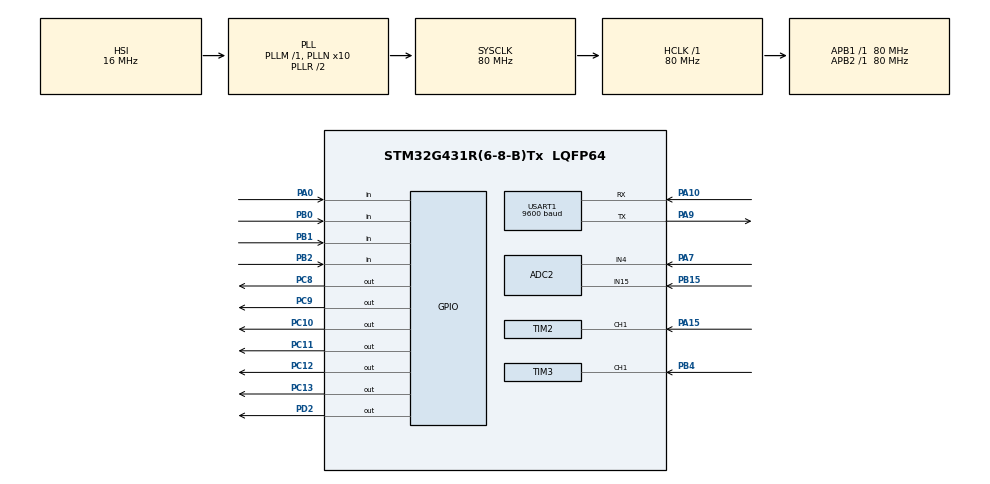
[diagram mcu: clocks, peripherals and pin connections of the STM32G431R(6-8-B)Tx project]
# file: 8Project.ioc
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ADC2.Channel-3\#ChannelRegularConversion=ADC_CHANNEL_15
ADC2.Channel-4\#ChannelRegularConversion=ADC_CHANNEL_4
ADC2.NbrOfConversion=2
ADC2.NbrOfConversionFlag=1
ADC2.OffsetNumber-3\#ChannelRegularConversion=ADC_OFFSET_NONE
ADC2.OffsetNumber-4\#ChannelRegularConversion=ADC_OFFSET_NONE
ADC2.Rank-3\#ChannelRegularConversion=1
ADC2.Rank-4\#ChannelRegularConversion=2
ADC2.SamplingTime-3\#ChannelRegularConversion=ADC_SAMPLETIME_640CYCLES_5
ADC2.SamplingTime-4\#ChannelRegularConversion=ADC_SAMPLETIME_640CYCLES_5
Mcu.Family=STM32G4
Mcu.Name=STM32G431R(6-8-B)Tx
Mcu.Package=LQFP64
NVIC.PriorityGroup=NVIC_PRIORITYGROUP_4
NVIC.TIM1_TRG_COM_TIM17_IRQn=true\:0\:0\:false\:false\:true\:true\:true
NVIC.TIM2_IRQn=true\:0\:0\:false\:false\:true\:true\:true
NVIC.TIM3_IRQn=true\:0\:0\:false\:false\:true\:true\:true
NVIC.USART1_IRQn=true\:1\:0\:true\:false\:true\:true\:true
PA0.Signal=GPIO_Input
PA10.Mode=Asynchronous
PA10.Signal=USART1_RX
PA13.Mode=Serial_Wire
PA13.Signal=SYS_JTMS-SWDIO
PA14.Mode=Serial_Wire
PA14.Signal=SYS_JTCK-SWCLK
PA15.Signal=S_TIM2_CH1
PA7.Mode=IN4-Single-Ended
PA7.Signal=ADC2_IN4
PA9.Mode=Asynchronous
PA9.Signal=USART1_TX
PB0.Signal=GPIO_Input
PB1.Signal=GPIO_Input
PB15.Mode=IN15-Single-Ended
PB15.Signal=ADC2_IN15
PB2.Signal=GPIO_Input
PB4.Signal=S_TIM3_CH1
PC10.Signal=GPIO_Output
PC11.Signal=GPIO_Output
PC12.Signal=GPIO_Output
PC13.Signal=GPIO_Output
PC14-OSC32_IN.Mode=LSE-External-Oscillator
PC14-OSC32_IN.Signal=RCC_OSC32_IN
PC15-OSC32_OUT.Mode=LSE-External-Oscillator
PC15-OSC32_OUT.Signal=RCC_OSC32_OUT
PC8.Signal=GPIO_Output
PC9.Signal=GPIO_Output
PD2.Signal=GPIO_Output
PF0-OSC_IN.Mode=HSE-External-Oscillator
PF0-OSC_IN.Signal=RCC_OSC_IN
PF1-OSC_OUT.Mode=HSE-External-Oscillator
PF1-OSC_OUT.Signal=RCC_OSC_OUT
ProjectManager.HeapSize=0x200
ProjectManager.StackSize=0x400
ProjectManager.TargetToolchain=MDK-ARM V5
RCC.ADC12Freq_Value=80000000
RCC.AHBFreq_Value=80000000
RCC.APB1Freq_Value=80000000
RCC.APB1TimFreq_Value=80000000
RCC.APB2Freq_Value=80000000
RCC.APB2TimFreq_Value=80000000
RCC.CortexFreq_Value=80000000
RCC.EXTERNAL_CLOCK_VALUE=12288000
RCC.HCLKFreq_Value=80000000
RCC.HSE_VALUE=24000000
RCC.HSI48_VALUE=48000000
RCC.HSI_VALUE=16000000
RCC.PLLN=10
RCC.SYSCLKFreq_VALUE=80000000
RCC.SYSCLKSource=RCC_SYSCLKSOURCE_PLLCLK
RCC.USBFreq_Value=80000000
RCC.VCOOutputFreq_Value=160000000
SH.S_TIM2_CH1.0=TIM2_CH1,Input_Capture1_from_TI1
SH.S_TIM3_CH1.0=TIM3_CH1,Input_Capture1_from_TI1
TIM17.AutoReloadPreload=TIM_AUTORELOAD_PRELOAD_ENABLE
TIM17.PeriodNoDither=500
TIM17.Prescaler=79
TIM2.Channel-Input_Capture1_from_TI1=TIM_CHANNEL_1
TIM2.Prescaler=80-1
TIM3.AutoReloadPreload=TIM_AUTORELOAD_PRELOAD_ENABLE
TIM3.Channel-Input_Capture1_from_TI1=TIM_CHANNEL_1
TIM3.PeriodNoDither=10000-1
TIM3.Prescaler=80-1
USART1.BaudRate=9600
USART1.VirtualMode-Asynchronous=VM_ASYNC
VP_SYS_VS_DBSignals.Mode=DisableDeadBatterySignals
VP_TIM17_VS_ClockSourceINT.Mode=Enable_Timer
VP_TIM2_VS_ClockSourceINT.Mode=Internal
VP_TIM3_VS_ClockSourceINT.Mode=Internal
board=custom

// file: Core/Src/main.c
/* USER CODE BEGIN Header */
/**
  ******************************************************************************
  * @file           : main.c
  * @brief          : Main program body
  ******************************************************************************
  * @attention
  *
  * <h2><center>&copy; Copyright (c) 2023 STMicroelectronics.
  * All rights reserved.</center></h2>
  *
  * This software component is licensed by ST under BSD 3-Clause license,
  * the "License"; You may not use this file except in compliance with the
  * License. You may obtain a copy of the License at:
  *                        opensource.org/licenses/BSD-3-Clause
  *
  ******************************************************************************
  */
/* USER CODE END Header */
#include "main.h"
#include "adc.h"
#include "tim.h"
#include "usart.h"
#include "gpio.h"

/* USER CODE BEGIN Includes */
#include "lcd.h"
#include "i2c_hal.h"
#include "stdio.h"
#include "string.h"

/* USER CODE END Includes */

/* USER CODE BEGIN PD */
#define KEY1 HAL_GPIO_ReadPin(GPIOB,GPIO_PIN_0)
#define KEY2 HAL_GPIO_ReadPin(GPIOB,GPIO_PIN_1)
#define KEY3 HAL_GPIO_ReadPin(GPIOB,GPIO_PIN_2)
#define KEY4 HAL_GPIO_ReadPin(GPIOA,GPIO_PIN_0)

/* USER CODE END PD */

/* USER CODE BEGIN PV */
//key
u8 key_val,key_down,key_up,key_old;

//lcd
u8 sta_lcd;
u8 ptr[30];

unsigned char tx[21],rx,rx_buf[21];//串口相关变量
u8 dex;
u8 tc[128];
u8 tcs = 0;

//led
u8 led_in;
u8 e2prom[5];//EEPROM存储数组
/* USER CODE END PV */

void SystemClock_Config(void);

/* USER CODE BEGIN 0 */

void i2c_Read(unsigned char *PucBuff,unsigned char ucAddr,unsigned char ucNum)
{
	I2CStart();
	I2CSendByte(0xa0);
	I2CWaitAck();
	I2CSendByte(ucAddr);
	I2CWaitAck();
	I2CStart();
	I2CSendByte(0xa1);
	I2CWaitAck();
	while(ucNum--)
	{
		*PucBuff++ = I2CReceiveByte();
		if(ucNum)
			I2CSendAck();
		else
			I2CSendNotAck();
	}
	I2CStop();
}

void i2c_Write(unsigned char *PucBuff,unsigned char ucAddr,unsigned char ucNum)
{
	I2CStart();
	I2CSendByte(0xa0);
	I2CWaitAck();
	I2CSendByte(ucAddr);
	I2CWaitAck();
	while(ucNum--)
	{
		I2CSendByte(*PucBuff++);
		I2CWaitAck();
	}
	I2CStop();
	HAL_Delay(5);
}

u8 key_scan()
{
	if((KEY1 == 0)||(KEY2 == 0)||(KEY3 == 0)||(KEY4 == 0))
	{
		HAL_Delay(10);
		if(KEY1 == 0) return 1;
		else if(KEY2 == 0) return 2;
		else if(KEY3 == 0) return 3;
		else if(KEY4 == 0) return 4;
	}return 0;
}

void led_dis(u8 led)
{
	HAL_GPIO_WritePin(GPIOC,0xff00,GPIO_PIN_SET);
	HAL_GPIO_WritePin(GPIOD,GPIO_PIN_2,GPIO_PIN_SET);
	HAL_GPIO_WritePin(GPIOD,GPIO_PIN_2,GPIO_PIN_RESET);

	HAL_GPIO_WritePin(GPIOC,led<<8,GPIO_PIN_RESET);
	HAL_GPIO_WritePin(GPIOD,GPIO_PIN_2,GPIO_PIN_SET);
	HAL_GPIO_WritePin(GPIOD,GPIO_PIN_2,GPIO_PIN_RESET);
}

void key_Proc()
{
	static __IO uint32_t Key_Tick,DKey_Tick;

	if(uwTick - Key_Tick < 50)
		return;

	Key_Tick = uwTick;

	key_val = key_scan();
	key_down = key_val&(key_val^key_old);
	key_up = ~key_val&(key_val^key_old);
	key_old = key_val;

	if(key_down != 0)
		DKey_Tick=uwTick;

	if(uwTick - DKey_Tick > 1000)
	{
		switch(key_up)
		{
			case 1:
				led_in = 0x00;
				break;
			case 4:
				led_in |= 0x80;
			break;
		}
	}else
	{
		switch (key_up)
		{
			case 1:
			{
				tcs ++;
				led_in = 0x00;
				break;
			}
			case 2:
			{

				break;
			}
			case 3:
			{

				break;
			}
			case 4:
			{
				led_in |= 0x08;
				break;
			}
		}
	}
}

void lcd_Proc()
{
	if(!sta_lcd)
	{
		sprintf((char*)ptr,"    local Plat   ");
		LCD_DisplayStringLine(Line1,(u8*)ptr);

		sprintf((char*)ptr,"  %d  %d   ", tcs, tc[tcs] );
		LCD_DisplayStringLine(Line2,(u8*)ptr);
	}else{
		sprintf((char*)ptr,"");
		LCD_DisplayStringLine(Line0,(u8*)ptr);
	}
}

void led_Proc()
{

	led_dis(led_in);
}

unsigned char isRxCplt()
{
	if(dex==0)
		return 0;
	else if((dex==1)&&(rx_buf[0]=='X'))
		return 1;
	else if((dex==1)&&(rx_buf[0]=='Y'))
		return 2;
	else if((dex==3)&&(rx_buf[0]=='P')&&(rx_buf[1]=='A')&&(rx_buf[2]=='1'))//接收到3位数据 且该数据为PA1
		return 3;
	else if((dex==3)&&(rx_buf[0]=='P')&&(rx_buf[1]=='A')&&(rx_buf[2]=='4'))//接收到3位数据 且该数据为PA4
		return 4;
	else if((dex==3)&&(rx_buf[0]=='P')&&(rx_buf[1]=='A')&&(rx_buf[2]=='5'))//接收到3位数据 且该数据为PA5
		return 5;
	else if((dex==1)&&(rx_buf[0]=='#'))
		return 6;
	else//接收到其他数据
		return 7;
}

void Uart_Proc()
{
	static __IO uint32_t Uart_Tick;

	if(uwTick-Uart_Tick<50)
		return;
	Uart_Tick=uwTick;

	if(isRxCplt()==1)//返回当前频率参数
	{
		sprintf((char*)tx,"X:%d\r\n",dex);
		HAL_UART_Transmit(&huart1,tx,strlen(tx),50);
	}
	else if(isRxCplt()==2)//返回当前电压参数
	{
		sprintf((char*)tx,"Y:%d\r\n",dex);
		HAL_UART_Transmit(&huart1,tx,strlen(tx),50);
	}
	else if(isRxCplt()==3)//返回PA1通道实时测量到的频率数据
	{
		sprintf((char*)tx,"PA1:%d\r\n",dex);
		HAL_UART_Transmit(&huart1,tx,strlen(tx),50);
	}
	else if(isRxCplt()==4)//返回PA4通道当前测量到的电压数据
	{
		sprintf((char*)tx,"PA4:%d\r\n",dex);
		HAL_UART_Transmit(&huart1,tx,strlen(tx),50);
	}
	else if(isRxCplt()==5)//返回PA5通道当前测量到的电压数据
	{
		sprintf((char*)tx,"PA5:%d\r\n",dex);
		HAL_UART_Transmit(&huart1,tx,strlen(tx),50);
	}

	dex=0;//串口缓冲数组索引清零
}

void HAL_UART_RxCpltCallback(UART_HandleTypeDef *huart)
{

	rx_buf[dex++]=rx;
	HAL_UART_Receive_IT(&huart1,&rx,1);//重新开启接收中断
}

u16 adc[2];

void getADC2(void) // 获取PB15引脚的电压(对应R37电阻)
{
	u8 i;

//	HAL_ADC_Start(&hadc2);
//	for(i = 0; i < 2; i ++)
//	{
//		adc[i] = HAL_ADC_GetValue(&hadc2);
//		HAL_Delay(5);
//	}
	HAL_ADC_Start(&hadc2);
	HAL_ADC_PollForConversion (&hadc2,50);//等待转换完成，第二个参数表示超时时间，单位ms
	adc[0] = HAL_ADC_GetValue(&hadc2);
	HAL_ADC_Start(&hadc2);
	HAL_ADC_PollForConversion (&hadc2,50);
	adc[1] = HAL_ADC_GetValue(&hadc2);
	HAL_ADC_Stop(&hadc2);

}

uint32_t  f39 = 0, f40 = 0; //分别用来存储TIM2_CH1和TIM3_CH1的捕获频率
void HAL_TIM_IC_CaptureCallback(TIM_HandleTypeDef *htim)
{
	uint32_t  cc1_value = 0;
	cc1_value = __HAL_TIM_GET_COUNTER(htim);
	__HAL_TIM_SetCounter(htim,0);

	if(htim == &htim2) //定时器2，对应的是PA15引脚，R40
	{
		f40 = 1000000/cc1_value;
	}

}
/* USER CODE END 0 */

int main(void)
{

  /* MCU Configuration--------------------------------------------------------*/

  /* Reset of all peripherals, Initializes the Flash interface and the Systick. */
  HAL_Init();

  /* Configure the system clock */
  SystemClock_Config();

  /* Initialize all configured peripherals */
  MX_GPIO_Init();
  MX_TIM3_Init();
  MX_TIM17_Init();
  MX_USART1_UART_Init();
  MX_TIM2_Init();
  MX_ADC2_Init();
  /* USER CODE BEGIN 2 */
	I2CInit();
	LCD_Init();
	LCD_SetBackColor(Black);
	LCD_SetTextColor(White);
	LCD_Clear(Black);
	led_dis(0);
	HAL_UART_Receive_IT(&huart1,&rx,1);
	HAL_TIM_IC_Start_IT(&htim2, TIM_CHANNEL_1);

	i2c_Read(e2prom,0,5);
  if((e2prom[2]==0x77)&&(e2prom[3]==0x7A)&&(e2prom[4]==0x64))//不是第一次上电
  {

  }
  else//是第一次上电
  {
		e2prom[2]=0x77;e2prom[3]=0x7A;e2prom[4]=0x64;//写入表示已经完成第一次上电的标志
		i2c_Write(e2prom,0,5);
  }

  /* USER CODE END 2 */

  /* Infinite loop */
  while (1)
  {

    /* USER CODE BEGIN 3 */
		sprintf((char*)tx,"X:%d\r\n",adc[0]);
		LCD_DisplayStringLine(Line8,(u8*)tx);
		sprintf((char*)tx,"X:%d\r\n",adc[1]);
		LCD_DisplayStringLine(Line9,(u8*)tx);

		getADC2();
		key_Proc();
		lcd_Proc();
		led_Proc();
		Uart_Proc();
  }
  /* USER CODE END 3 */
}

void SystemClock_Config(void)
{
  RCC_OscInitTypeDef RCC_OscInitStruct = {0};
  RCC_ClkInitTypeDef RCC_ClkInitStruct = {0};
  RCC_PeriphCLKInitTypeDef PeriphClkInit = {0};

  /** Configure the main internal regulator output voltage
  */
  HAL_PWREx_ControlVoltageScaling(PWR_REGULATOR_VOLTAGE_SCALE1);
  /** Initializes the RCC Oscillators according to the specified parameters
  * in the RCC_OscInitTypeDef structure.
  */
  RCC_OscInitStruct.OscillatorType = RCC_OSCILLATORTYPE_HSI;
  RCC_OscInitStruct.HSIState = RCC_HSI_ON;
  RCC_OscInitStruct.HSICalibrationValue = RCC_HSICALIBRATION_DEFAULT;
  RCC_OscInitStruct.PLL.PLLState = RCC_PLL_ON;
  RCC_OscInitStruct.PLL.PLLSource = RCC_PLLSOURCE_HSI;
  RCC_OscInitStruct.PLL.PLLM = RCC_PLLM_DIV1;
  RCC_OscInitStruct.PLL.PLLN = 10;
  RCC_OscInitStruct.PLL.PLLP = RCC_PLLP_DIV2;
  RCC_OscInitStruct.PLL.PLLQ = RCC_PLLQ_DIV2;
  RCC_OscInitStruct.PLL.PLLR = RCC_PLLR_DIV2;
  if (HAL_RCC_OscConfig(&RCC_OscInitStruct) != HAL_OK)
  {
    Error_Handler();
  }
  /** Initializes the CPU, AHB and APB buses clocks
  */
  RCC_ClkInitStruct.ClockType = RCC_CLOCKTYPE_HCLK|RCC_CLOCKTYPE_SYSCLK
                              |RCC_CLOCKTYPE_PCLK1|RCC_CLOCKTYPE_PCLK2;
  RCC_ClkInitStruct.SYSCLKSource = RCC_SYSCLKSOURCE_PLLCLK;
  RCC_ClkInitStruct.AHBCLKDivider = RCC_SYSCLK_DIV1;
  RCC_ClkInitStruct.APB1CLKDivider = RCC_HCLK_DIV1;
  RCC_ClkInitStruct.APB2CLKDivider = RCC_HCLK_DIV1;

  if (HAL_RCC_ClockConfig(&RCC_ClkInitStruct, FLASH_LATENCY_2) != HAL_OK)
  {
    Error_Handler();
  }
  /** Initializes the peripherals clocks
  */
  PeriphClkInit.PeriphClockSelection = RCC_PERIPHCLK_USART1|RCC_PERIPHCLK_ADC12;
  PeriphClkInit.Usart1ClockSelection = RCC_USART1CLKSOURCE_PCLK2;
  PeriphClkInit.Adc12ClockSelection = RCC_ADC12CLKSOURCE_SYSCLK;
  if (HAL_RCCEx_PeriphCLKConfig(&PeriphClkInit) != HAL_OK)
  {
    Error_Handler();
  }
}

void Error_Handler(void)
{
  __disable_irq();
  while (1)
  {
  }
}

/************************ (C) COPYRIGHT STMicroelectronics *****END OF FILE****/
